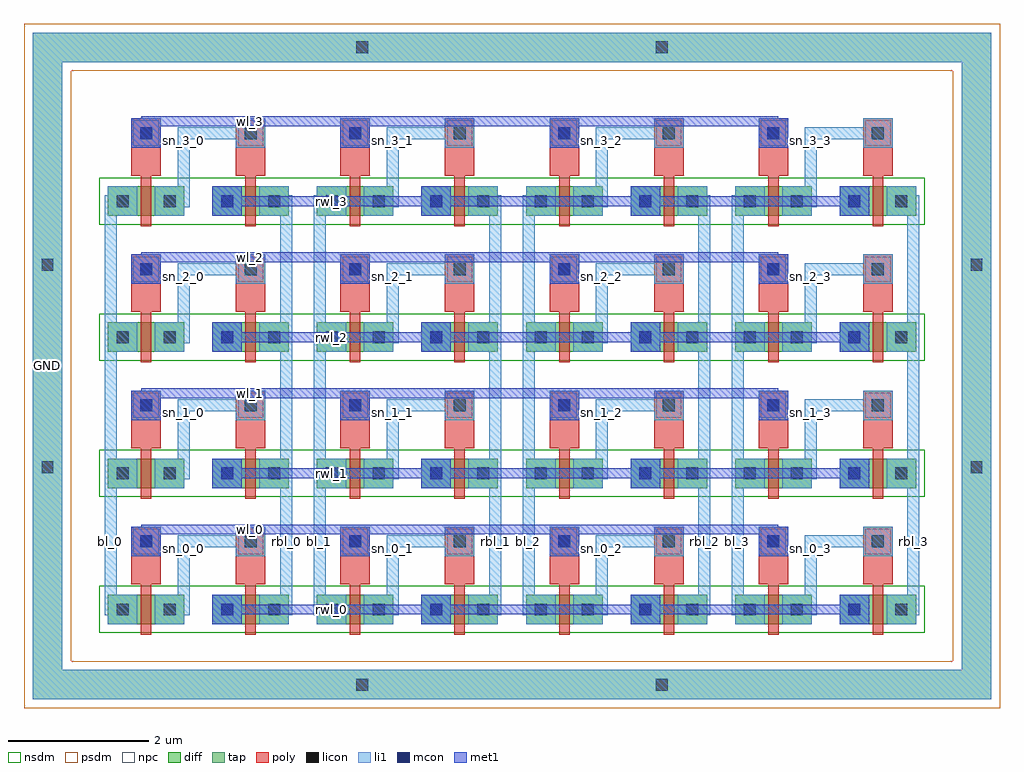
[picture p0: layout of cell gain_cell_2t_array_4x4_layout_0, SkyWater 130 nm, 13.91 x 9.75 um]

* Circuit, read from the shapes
.subckt gain_cell_2t_array_4x4_layout_0 GND bl_0 bl_1 bl_2 bl_3 rbl_0 rbl_1 rbl_2 rbl_3 rwl_0 rwl_1 rwl_2 rwl_3 sn_0_0 sn_0_1 sn_0_2 sn_0_3 sn_1_0 sn_1_1 sn_1_2 sn_1_3 sn_2_0 sn_2_1 sn_2_2 sn_2_3 sn_3_0 sn_3_1 sn_3_2 sn_3_3 wl_0 wl_1 wl_2 wl_3
XM1 sn_0_0 wl_0 bl_0 GND sky130_fd_pr__nfet_01v8 w=0.42 l=0.15
XM2 sn_1_0 wl_1 bl_0 GND sky130_fd_pr__nfet_01v8 w=0.42 l=0.15
XM3 sn_2_0 wl_2 bl_0 GND sky130_fd_pr__nfet_01v8 w=0.42 l=0.15
XM4 sn_3_0 wl_3 bl_0 GND sky130_fd_pr__nfet_01v8 w=0.42 l=0.15
XM5 rbl_0 sn_0_0 rwl_0 GND sky130_fd_pr__nfet_01v8 w=0.42 l=0.15
XM6 rbl_0 sn_1_0 rwl_1 GND sky130_fd_pr__nfet_01v8 w=0.42 l=0.15
XM7 rbl_0 sn_2_0 rwl_2 GND sky130_fd_pr__nfet_01v8 w=0.42 l=0.15
XM8 rbl_0 sn_3_0 rwl_3 GND sky130_fd_pr__nfet_01v8 w=0.42 l=0.15
XM9 sn_0_1 wl_0 bl_1 GND sky130_fd_pr__nfet_01v8 w=0.42 l=0.15
XM10 sn_1_1 wl_1 bl_1 GND sky130_fd_pr__nfet_01v8 w=0.42 l=0.15
XM11 sn_2_1 wl_2 bl_1 GND sky130_fd_pr__nfet_01v8 w=0.42 l=0.15
XM12 sn_3_1 wl_3 bl_1 GND sky130_fd_pr__nfet_01v8 w=0.42 l=0.15
XM13 rbl_1 sn_0_1 rwl_0 GND sky130_fd_pr__nfet_01v8 w=0.42 l=0.15
XM14 rbl_1 sn_1_1 rwl_1 GND sky130_fd_pr__nfet_01v8 w=0.42 l=0.15
XM15 rbl_1 sn_2_1 rwl_2 GND sky130_fd_pr__nfet_01v8 w=0.42 l=0.15
XM16 rbl_1 sn_3_1 rwl_3 GND sky130_fd_pr__nfet_01v8 w=0.42 l=0.15
XM17 sn_0_2 wl_0 bl_2 GND sky130_fd_pr__nfet_01v8 w=0.42 l=0.15
XM18 sn_1_2 wl_1 bl_2 GND sky130_fd_pr__nfet_01v8 w=0.42 l=0.15
XM19 sn_2_2 wl_2 bl_2 GND sky130_fd_pr__nfet_01v8 w=0.42 l=0.15
XM20 sn_3_2 wl_3 bl_2 GND sky130_fd_pr__nfet_01v8 w=0.42 l=0.15
XM21 rbl_2 sn_0_2 rwl_0 GND sky130_fd_pr__nfet_01v8 w=0.42 l=0.15
XM22 rbl_2 sn_1_2 rwl_1 GND sky130_fd_pr__nfet_01v8 w=0.42 l=0.15
XM23 rbl_2 sn_2_2 rwl_2 GND sky130_fd_pr__nfet_01v8 w=0.42 l=0.15
XM24 rbl_2 sn_3_2 rwl_3 GND sky130_fd_pr__nfet_01v8 w=0.42 l=0.15
XM25 sn_0_3 wl_0 bl_3 GND sky130_fd_pr__nfet_01v8 w=0.42 l=0.15
XM26 sn_1_3 wl_1 bl_3 GND sky130_fd_pr__nfet_01v8 w=0.42 l=0.15
XM27 sn_2_3 wl_2 bl_3 GND sky130_fd_pr__nfet_01v8 w=0.42 l=0.15
XM28 sn_3_3 wl_3 bl_3 GND sky130_fd_pr__nfet_01v8 w=0.42 l=0.15
XM29 rbl_3 sn_0_3 rwl_0 GND sky130_fd_pr__nfet_01v8 w=0.42 l=0.15
XM30 rbl_3 sn_1_3 rwl_1 GND sky130_fd_pr__nfet_01v8 w=0.42 l=0.15
XM31 rbl_3 sn_2_3 rwl_2 GND sky130_fd_pr__nfet_01v8 w=0.42 l=0.15
XM32 rbl_3 sn_3_3 rwl_3 GND sky130_fd_pr__nfet_01v8 w=0.42 l=0.15
.ends

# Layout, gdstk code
import gdstk
lib = gdstk.Library(unit=1e-6, precision=1e-09)
def R(c, l, rs):  # rectangles x0, y0, x1, y1
    for r in rs: c.add(gdstk.rectangle(r[:2], r[2:], *l))
def A(c, l, x, y, w, h, nx, ny, dx, dy):  # array of equal rectangles
    R(c, l, [(x+i*dx, y+j*dy, x+i*dx+w, y+j*dy+h) for i in range(nx) for j in range(ny)])
def P(c, l, *ps):  # polygons
    for p in ps: c.add(gdstk.Polygon(p, *l))
diff = (65, 20)
tap = (65, 44)
poly = (66, 20)
licon = (66, 44)
li1 = (67, 20)
mcon = (67, 44)
met1 = (68, 20)
nsdm = (93, 44)
psdm = (94, 20)
npc = (95, 20)

mos_array = lib.new_cell('mos_array')
A(mos_array, diff, 0, 0, 1.09, 0.42, 8, 4, 1.49, 1.94)
P(mos_array, tap, [(-1.07,-1.07),(-1.07,8.01),(-0.65,8.01),(-0.65,-0.65),(12.17,-0.65),(12.17,8.01),(-1.07,8.01),(-1.07,8.43),(12.59,8.43),(12.59,-1.07)])
A(mos_array, poly, 0.47, -0.15, 0.15, 0.57, 8, 4, 1.49, 1.94)
A(mos_array, poly, 0.335, 0.57, 0.42, 0.82, 8, 4, 1.49, 1.94)
R(mos_array, poly, [(0.47,0.42,0.62,0.57), (0.47,0.42,0.62,0.57), (1.96,0.42,2.11,0.57), (1.96,0.42,2.11,0.57), (3.45,0.42,3.6,0.57), (3.45,0.42,3.6,0.57), (4.94,0.42,5.09,0.57), (4.94,0.42,5.09,0.57), (6.43,0.42,6.58,0.57), (6.43,0.42,6.58,0.57), (7.92,0.42,8.07,0.57), (7.92,0.42,8.07,0.57), (9.41,0.42,9.56,0.57), (9.41,0.42,9.56,0.57), (10.9,0.42,11.05,0.57), (10.9,0.42,11.05,0.57), (0.47,2.36,0.62,2.51), (0.47,2.36,0.62,2.51), (1.96,2.36,2.11,2.51), (1.96,2.36,2.11,2.51), (3.45,2.36,3.6,2.51), (3.45,2.36,3.6,2.51), (4.94,2.36,5.09,2.51), (4.94,2.36,5.09,2.51), (6.43,2.36,6.58,2.51), (6.43,2.36,6.58,2.51), (7.92,2.36,8.07,2.51), (7.92,2.36,8.07,2.51), (9.41,2.36,9.56,2.51), (9.41,2.36,9.56,2.51), (10.9,2.36,11.05,2.51), (10.9,2.36,11.05,2.51), (0.47,4.3,0.62,4.45), (0.47,4.3,0.62,4.45), (1.96,4.3,2.11,4.45), (1.96,4.3,2.11,4.45), (3.45,4.3,3.6,4.45), (3.45,4.3,3.6,4.45), (4.94,4.3,5.09,4.45), (4.94,4.3,5.09,4.45), (6.43,4.3,6.58,4.45), (6.43,4.3,6.58,4.45), (7.92,4.3,8.07,4.45), (7.92,4.3,8.07,4.45), (9.41,4.3,9.56,4.45), (9.41,4.3,9.56,4.45), (10.9,4.3,11.05,4.45), (10.9,4.3,11.05,4.45), (0.47,6.24,0.62,6.39), (0.47,6.24,0.62,6.39), (1.96,6.24,2.11,6.39), (1.96,6.24,2.11,6.39), (3.45,6.24,3.6,6.39), (3.45,6.24,3.6,6.39), (4.94,6.24,5.09,6.39), (4.94,6.24,5.09,6.39), (6.43,6.24,6.58,6.39), (6.43,6.24,6.58,6.39), (7.92,6.24,8.07,6.39), (7.92,6.24,8.07,6.39), (9.41,6.24,9.56,6.39), (9.41,6.24,9.56,6.39), (10.9,6.24,11.05,6.39), (10.9,6.24,11.05,6.39)])
A(mos_array, licon, 0.125, 0.125, 0.17, 0.17, 1, 4, 0, 1.94)
A(mos_array, licon, 0.795, 0.125, 0.17, 0.17, 1, 4, 0, 1.94)
A(mos_array, licon, 1.615, 0.125, 0.17, 0.17, 1, 4, 0, 1.94)
A(mos_array, licon, 2.285, 0.125, 0.17, 0.17, 1, 4, 0, 1.94)
A(mos_array, licon, 3.105, 0.125, 0.17, 0.17, 1, 4, 0, 1.94)
A(mos_array, licon, 3.775, 0.125, 0.17, 0.17, 1, 4, 0, 1.94)
A(mos_array, licon, 4.595, 0.125, 0.17, 0.17, 1, 4, 0, 1.94)
A(mos_array, licon, 5.265, 0.125, 0.17, 0.17, 1, 4, 0, 1.94)
A(mos_array, licon, 6.085, 0.125, 0.17, 0.17, 1, 4, 0, 1.94)
A(mos_array, licon, 6.755, 0.125, 0.17, 0.17, 1, 4, 0, 1.94)
A(mos_array, licon, 7.575, 0.125, 0.17, 0.17, 1, 4, 0, 1.94)
A(mos_array, licon, 8.245, 0.125, 0.17, 0.17, 1, 4, 0, 1.94)
A(mos_array, licon, 9.065, 0.125, 0.17, 0.17, 1, 4, 0, 1.94)
A(mos_array, licon, 9.735, 0.125, 0.17, 0.17, 1, 4, 0, 1.94)
A(mos_array, licon, 10.555, 0.125, 0.17, 0.17, 1, 4, 0, 1.94)
A(mos_array, licon, 11.225, 0.125, 0.17, 0.17, 1, 4, 0, 1.94)
A(mos_array, licon, 0.46, 1.095, 0.17, 0.17, 8, 4, 1.49, 1.94)
R(mos_array, licon, [(3.54,-0.945,3.71,-0.775), (7.81,-0.945,7.98,-0.775), (-0.945,2.15,-0.775,2.32), (12.295,2.15,12.465,2.32), (-0.945,5.04,-0.775,5.21), (12.295,5.04,12.465,5.21), (3.54,8.135,3.71,8.305), (7.81,8.135,7.98,8.305)])
A(mos_array, li1, 0, 0, 0.42, 0.42, 1, 4, 0, 1.94)
A(mos_array, li1, 0.67, 0, 0.42, 0.42, 1, 4, 0, 1.94)
A(mos_array, li1, 1.49, 0, 0.42, 0.42, 1, 4, 0, 1.94)
A(mos_array, li1, 2.16, 0, 0.42, 0.42, 1, 4, 0, 1.94)
A(mos_array, li1, 2.98, 0, 0.42, 0.42, 1, 4, 0, 1.94)
A(mos_array, li1, 3.65, 0, 0.42, 0.42, 1, 4, 0, 1.94)
A(mos_array, li1, 4.47, 0, 0.42, 0.42, 1, 4, 0, 1.94)
A(mos_array, li1, 5.14, 0, 0.42, 0.42, 1, 4, 0, 1.94)
A(mos_array, li1, 5.96, 0, 0.42, 0.42, 1, 4, 0, 1.94)
A(mos_array, li1, 6.63, 0, 0.42, 0.42, 1, 4, 0, 1.94)
A(mos_array, li1, 7.45, 0, 0.42, 0.42, 1, 4, 0, 1.94)
A(mos_array, li1, 8.12, 0, 0.42, 0.42, 1, 4, 0, 1.94)
A(mos_array, li1, 8.94, 0, 0.42, 0.42, 1, 4, 0, 1.94)
A(mos_array, li1, 9.61, 0, 0.42, 0.42, 1, 4, 0, 1.94)
A(mos_array, li1, 10.43, 0, 0.42, 0.42, 1, 4, 0, 1.94)
A(mos_array, li1, 11.1, 0, 0.42, 0.42, 1, 4, 0, 1.94)
A(mos_array, li1, 0.335, 0.97, 0.42, 0.42, 8, 4, 1.49, 1.94)
P(mos_array, li1, [(-1.07,-1.07),(-1.07,8.01),(-0.65,8.01),(-0.65,-0.65),(12.17,-0.65),(12.17,8.01),(-1.07,8.01),(-1.07,8.43),(12.59,8.43),(12.59,-1.07)])
A(mos_array, nsdm, -0.125, -0.125, 11.77, 0.67, 1, 4, 0, 1.94)
P(mos_array, psdm, [(-1.195,-1.195),(-1.195,7.885),(-0.525,7.885),(-0.525,-0.525),(12.045,-0.525),(12.045,7.885),(-1.195,7.885),(-1.195,8.555),(12.715,8.555),(12.715,-1.195)])
A(mos_array, npc, 0.365, 1, 0.36, 0.36, 8, 4, 1.49, 1.94)

mos__gain_cell_2t_array_ = lib.new_cell('mos__gain_cell_2t_array_mos')
mos__gain_cell_2t_array_.add(gdstk.Reference(mos_array, (0,0)))

gain_cell_2t_array_4x4_l = lib.new_cell('gain_cell_2t_array_4x4_layout_0')
A(gain_cell_2t_array_4x4_l, li1, 1.49, 0, 0.42, 0.42, 1, 4, 0, 1.94)
A(gain_cell_2t_array_4x4_l, li1, 10.43, 0, 0.42, 0.42, 1, 4, 0, 1.94)
A(gain_cell_2t_array_4x4_l, li1, 0.335, 0.97, 0.42, 0.42, 1, 4, 0, 1.94)
A(gain_cell_2t_array_4x4_l, li1, 9.275, 0.97, 0.42, 0.42, 1, 4, 0, 1.94)
A(gain_cell_2t_array_4x4_l, li1, 1.825, 1.18, 0.42, 0.17, 4, 4, 2.98, 1.94)
R(gain_cell_2t_array_4x4_l, li1, [(4.47,0,4.89,0.42), (4.47,0,4.89,0.42), (7.45,0,7.87,0.42), (7.45,0,7.87,0.42), (3.315,0.97,3.735,1.39), (3.315,0.97,3.735,1.39), (6.295,0.97,6.715,1.39), (6.295,0.97,6.715,1.39), (4.47,1.94,4.89,2.36), (4.47,1.94,4.89,2.36), (7.45,1.94,7.87,2.36), (7.45,1.94,7.87,2.36), (3.315,2.91,3.735,3.33), (3.315,2.91,3.735,3.33), (6.295,2.91,6.715,3.33), (6.295,2.91,6.715,3.33), (4.47,3.88,4.89,4.3), (4.47,3.88,4.89,4.3), (7.45,3.88,7.87,4.3), (7.45,3.88,7.87,4.3), (3.315,4.85,3.735,5.27), (3.315,4.85,3.735,5.27), (6.295,4.85,6.715,5.27), (6.295,4.85,6.715,5.27), (4.47,5.82,4.89,6.24), (4.47,5.82,4.89,6.24), (7.45,5.82,7.87,6.24), (7.45,5.82,7.87,6.24), (3.315,6.79,3.735,7.21), (3.315,6.79,3.735,7.21), (6.295,6.79,6.715,7.21), (6.295,6.79,6.715,7.21)])
A(gain_cell_2t_array_4x4_l, mcon, 1.615, 0.125, 0.17, 0.17, 1, 4, 0, 1.94)
A(gain_cell_2t_array_4x4_l, mcon, 10.555, 0.125, 0.17, 0.17, 1, 4, 0, 1.94)
A(gain_cell_2t_array_4x4_l, mcon, 0.46, 1.095, 0.17, 0.17, 1, 4, 0, 1.94)
A(gain_cell_2t_array_4x4_l, mcon, 9.4, 1.095, 0.17, 0.17, 1, 4, 0, 1.94)
R(gain_cell_2t_array_4x4_l, mcon, [(4.595,0.125,4.765,0.295), (4.595,0.125,4.765,0.295), (7.575,0.125,7.745,0.295), (7.575,0.125,7.745,0.295), (3.44,1.095,3.61,1.265), (3.44,1.095,3.61,1.265), (6.42,1.095,6.59,1.265), (6.42,1.095,6.59,1.265), (4.595,2.065,4.765,2.235), (4.595,2.065,4.765,2.235), (7.575,2.065,7.745,2.235), (7.575,2.065,7.745,2.235), (3.44,3.035,3.61,3.205), (3.44,3.035,3.61,3.205), (6.42,3.035,6.59,3.205), (6.42,3.035,6.59,3.205), (4.595,4.005,4.765,4.175), (4.595,4.005,4.765,4.175), (7.575,4.005,7.745,4.175), (7.575,4.005,7.745,4.175), (3.44,4.975,3.61,5.145), (3.44,4.975,3.61,5.145), (6.42,4.975,6.59,5.145), (6.42,4.975,6.59,5.145), (4.595,5.945,4.765,6.115), (4.595,5.945,4.765,6.115), (7.575,5.945,7.745,6.115), (7.575,5.945,7.745,6.115), (3.44,6.915,3.61,7.085), (3.44,6.915,3.61,7.085), (6.42,6.915,6.59,7.085), (6.42,6.915,6.59,7.085)])
A(gain_cell_2t_array_4x4_l, met1, 1.49, 0, 0.42, 0.42, 1, 4, 0, 1.94)
A(gain_cell_2t_array_4x4_l, met1, 10.43, 0, 0.42, 0.42, 1, 4, 0, 1.94)
A(gain_cell_2t_array_4x4_l, met1, 0.335, 0.97, 0.42, 0.42, 1, 4, 0, 1.94)
A(gain_cell_2t_array_4x4_l, met1, 9.275, 0.97, 0.42, 0.42, 1, 4, 0, 1.94)
R(gain_cell_2t_array_4x4_l, met1, [(4.47,0,4.89,0.42), (4.47,0,4.89,0.42), (7.45,0,7.87,0.42), (7.45,0,7.87,0.42), (3.315,0.97,3.735,1.39), (3.315,0.97,3.735,1.39), (6.295,0.97,6.715,1.39), (6.295,0.97,6.715,1.39), (4.47,1.94,4.89,2.36), (4.47,1.94,4.89,2.36), (7.45,1.94,7.87,2.36), (7.45,1.94,7.87,2.36), (3.315,2.91,3.735,3.33), (3.315,2.91,3.735,3.33), (6.295,2.91,6.715,3.33), (6.295,2.91,6.715,3.33), (4.47,3.88,4.89,4.3), (4.47,3.88,4.89,4.3), (7.45,3.88,7.87,4.3), (7.45,3.88,7.87,4.3), (3.315,4.85,3.735,5.27), (3.315,4.85,3.735,5.27), (6.295,4.85,6.715,5.27), (6.295,4.85,6.715,5.27), (4.47,5.82,4.89,6.24), (4.47,5.82,4.89,6.24), (7.45,5.82,7.87,6.24), (7.45,5.82,7.87,6.24), (3.315,6.79,3.735,7.21), (3.315,6.79,3.735,7.21), (6.295,6.79,6.715,7.21), (6.295,6.79,6.715,7.21)])
gain_cell_2t_array_4x4_l.add(gdstk.FlexPath([(0.21,0.21),(0.04,0.21),(0.04,2.15),(0.21,2.15)], 0.17, ends="flush", simple_path=True, layer=67, datatype=20))  # li1
gain_cell_2t_array_4x4_l.add(gdstk.FlexPath([(0.21,2.15),(0.04,2.15),(0.04,4.09),(0.21,4.09)], 0.17, ends="flush", simple_path=True, layer=67, datatype=20))  # li1
gain_cell_2t_array_4x4_l.add(gdstk.FlexPath([(0.21,4.09),(0.04,4.09),(0.04,6.03),(0.21,6.03)], 0.17, ends="flush", simple_path=True, layer=67, datatype=20))  # li1
gain_cell_2t_array_4x4_l.add(gdstk.FlexPath([(3.19,0.21),(3.02,0.21),(3.02,2.15),(3.19,2.15)], 0.17, ends="flush", simple_path=True, layer=67, datatype=20))  # li1
gain_cell_2t_array_4x4_l.add(gdstk.FlexPath([(3.19,2.15),(3.02,2.15),(3.02,4.09),(3.19,4.09)], 0.17, ends="flush", simple_path=True, layer=67, datatype=20))  # li1
gain_cell_2t_array_4x4_l.add(gdstk.FlexPath([(3.19,4.09),(3.02,4.09),(3.02,6.03),(3.19,6.03)], 0.17, ends="flush", simple_path=True, layer=67, datatype=20))  # li1
gain_cell_2t_array_4x4_l.add(gdstk.FlexPath([(6.17,0.21),(6,0.21),(6,2.15),(6.17,2.15)], 0.17, ends="flush", simple_path=True, layer=67, datatype=20))  # li1
gain_cell_2t_array_4x4_l.add(gdstk.FlexPath([(6.17,2.15),(6,2.15),(6,4.09),(6.17,4.09)], 0.17, ends="flush", simple_path=True, layer=67, datatype=20))  # li1
gain_cell_2t_array_4x4_l.add(gdstk.FlexPath([(6.17,4.09),(6,4.09),(6,6.03),(6.17,6.03)], 0.17, ends="flush", simple_path=True, layer=67, datatype=20))  # li1
gain_cell_2t_array_4x4_l.add(gdstk.FlexPath([(9.15,0.21),(8.98,0.21),(8.98,2.15),(9.15,2.15)], 0.17, ends="flush", simple_path=True, layer=67, datatype=20))  # li1
gain_cell_2t_array_4x4_l.add(gdstk.FlexPath([(9.15,2.15),(8.98,2.15),(8.98,4.09),(9.15,4.09)], 0.17, ends="flush", simple_path=True, layer=67, datatype=20))  # li1
gain_cell_2t_array_4x4_l.add(gdstk.FlexPath([(9.15,4.09),(8.98,4.09),(8.98,6.03),(9.15,6.03)], 0.17, ends="flush", simple_path=True, layer=67, datatype=20))  # li1
gain_cell_2t_array_4x4_l.add(gdstk.FlexPath([(2.37,0.21),(2.54,0.21),(2.54,2.15),(2.37,2.15)], 0.17, ends="flush", simple_path=True, layer=67, datatype=20))  # li1
gain_cell_2t_array_4x4_l.add(gdstk.FlexPath([(2.37,2.15),(2.54,2.15),(2.54,4.09),(2.37,4.09)], 0.17, ends="flush", simple_path=True, layer=67, datatype=20))  # li1
gain_cell_2t_array_4x4_l.add(gdstk.FlexPath([(2.37,4.09),(2.54,4.09),(2.54,6.03),(2.37,6.03)], 0.17, ends="flush", simple_path=True, layer=67, datatype=20))  # li1
gain_cell_2t_array_4x4_l.add(gdstk.FlexPath([(5.35,0.21),(5.52,0.21),(5.52,2.15),(5.35,2.15)], 0.17, ends="flush", simple_path=True, layer=67, datatype=20))  # li1
gain_cell_2t_array_4x4_l.add(gdstk.FlexPath([(5.35,2.15),(5.52,2.15),(5.52,4.09),(5.35,4.09)], 0.17, ends="flush", simple_path=True, layer=67, datatype=20))  # li1
gain_cell_2t_array_4x4_l.add(gdstk.FlexPath([(5.35,4.09),(5.52,4.09),(5.52,6.03),(5.35,6.03)], 0.17, ends="flush", simple_path=True, layer=67, datatype=20))  # li1
gain_cell_2t_array_4x4_l.add(gdstk.FlexPath([(8.33,0.21),(8.5,0.21),(8.5,2.15),(8.33,2.15)], 0.17, ends="flush", simple_path=True, layer=67, datatype=20))  # li1
gain_cell_2t_array_4x4_l.add(gdstk.FlexPath([(8.33,2.15),(8.5,2.15),(8.5,4.09),(8.33,4.09)], 0.17, ends="flush", simple_path=True, layer=67, datatype=20))  # li1
gain_cell_2t_array_4x4_l.add(gdstk.FlexPath([(8.33,4.09),(8.5,4.09),(8.5,6.03),(8.33,6.03)], 0.17, ends="flush", simple_path=True, layer=67, datatype=20))  # li1
gain_cell_2t_array_4x4_l.add(gdstk.FlexPath([(11.31,0.21),(11.48,0.21),(11.48,2.15),(11.31,2.15)], 0.17, ends="flush", simple_path=True, layer=67, datatype=20))  # li1
gain_cell_2t_array_4x4_l.add(gdstk.FlexPath([(11.31,2.15),(11.48,2.15),(11.48,4.09),(11.31,4.09)], 0.17, ends="flush", simple_path=True, layer=67, datatype=20))  # li1
gain_cell_2t_array_4x4_l.add(gdstk.FlexPath([(11.31,4.09),(11.48,4.09),(11.48,6.03),(11.31,6.03)], 0.17, ends="flush", simple_path=True, layer=67, datatype=20))  # li1
gain_cell_2t_array_4x4_l.add(gdstk.FlexPath([(0.88,0.21),(1.08,0.21),(1.08,1.18),(2.035,1.18),(2.035,1.18)], 0.17, ends="flush", simple_path=True, layer=67, datatype=20))  # li1
gain_cell_2t_array_4x4_l.add(gdstk.FlexPath([(3.86,0.21),(4.06,0.21),(4.06,1.18),(5.015,1.18),(5.015,1.18)], 0.17, ends="flush", simple_path=True, layer=67, datatype=20))  # li1
gain_cell_2t_array_4x4_l.add(gdstk.FlexPath([(6.84,0.21),(7.04,0.21),(7.04,1.18),(7.995,1.18),(7.995,1.18)], 0.17, ends="flush", simple_path=True, layer=67, datatype=20))  # li1
gain_cell_2t_array_4x4_l.add(gdstk.FlexPath([(9.82,0.21),(10.02,0.21),(10.02,1.18),(10.975,1.18),(10.975,1.18)], 0.17, ends="flush", simple_path=True, layer=67, datatype=20))  # li1
gain_cell_2t_array_4x4_l.add(gdstk.FlexPath([(0.88,2.15),(1.08,2.15),(1.08,3.12),(2.035,3.12),(2.035,3.12)], 0.17, ends="flush", simple_path=True, layer=67, datatype=20))  # li1
gain_cell_2t_array_4x4_l.add(gdstk.FlexPath([(3.86,2.15),(4.06,2.15),(4.06,3.12),(5.015,3.12),(5.015,3.12)], 0.17, ends="flush", simple_path=True, layer=67, datatype=20))  # li1
gain_cell_2t_array_4x4_l.add(gdstk.FlexPath([(6.84,2.15),(7.04,2.15),(7.04,3.12),(7.995,3.12),(7.995,3.12)], 0.17, ends="flush", simple_path=True, layer=67, datatype=20))  # li1
gain_cell_2t_array_4x4_l.add(gdstk.FlexPath([(9.82,2.15),(10.02,2.15),(10.02,3.12),(10.975,3.12),(10.975,3.12)], 0.17, ends="flush", simple_path=True, layer=67, datatype=20))  # li1
gain_cell_2t_array_4x4_l.add(gdstk.FlexPath([(0.88,4.09),(1.08,4.09),(1.08,5.06),(2.035,5.06),(2.035,5.06)], 0.17, ends="flush", simple_path=True, layer=67, datatype=20))  # li1
gain_cell_2t_array_4x4_l.add(gdstk.FlexPath([(3.86,4.09),(4.06,4.09),(4.06,5.06),(5.015,5.06),(5.015,5.06)], 0.17, ends="flush", simple_path=True, layer=67, datatype=20))  # li1
gain_cell_2t_array_4x4_l.add(gdstk.FlexPath([(6.84,4.09),(7.04,4.09),(7.04,5.06),(7.995,5.06),(7.995,5.06)], 0.17, ends="flush", simple_path=True, layer=67, datatype=20))  # li1
gain_cell_2t_array_4x4_l.add(gdstk.FlexPath([(9.82,4.09),(10.02,4.09),(10.02,5.06),(10.975,5.06),(10.975,5.06)], 0.17, ends="flush", simple_path=True, layer=67, datatype=20))  # li1
gain_cell_2t_array_4x4_l.add(gdstk.FlexPath([(0.88,6.03),(1.08,6.03),(1.08,7),(2.035,7),(2.035,7)], 0.17, ends="flush", simple_path=True, layer=67, datatype=20))  # li1
gain_cell_2t_array_4x4_l.add(gdstk.FlexPath([(3.86,6.03),(4.06,6.03),(4.06,7),(5.015,7),(5.015,7)], 0.17, ends="flush", simple_path=True, layer=67, datatype=20))  # li1
gain_cell_2t_array_4x4_l.add(gdstk.FlexPath([(6.84,6.03),(7.04,6.03),(7.04,7),(7.995,7),(7.995,7)], 0.17, ends="flush", simple_path=True, layer=67, datatype=20))  # li1
gain_cell_2t_array_4x4_l.add(gdstk.FlexPath([(9.82,6.03),(10.02,6.03),(10.02,7),(10.975,7),(10.975,7)], 0.17, ends="flush", simple_path=True, layer=67, datatype=20))  # li1
gain_cell_2t_array_4x4_l.add(gdstk.FlexPath([(0.545,1.18),(0.545,1.35),(3.525,1.35),(3.525,1.18)], 0.14, ends="flush", simple_path=True, layer=68, datatype=20))  # met1
gain_cell_2t_array_4x4_l.add(gdstk.FlexPath([(3.525,1.18),(3.525,1.35),(6.505,1.35),(6.505,1.18)], 0.14, ends="flush", simple_path=True, layer=68, datatype=20))  # met1
gain_cell_2t_array_4x4_l.add(gdstk.FlexPath([(6.505,1.18),(6.505,1.35),(9.485,1.35),(9.485,1.18)], 0.14, ends="flush", simple_path=True, layer=68, datatype=20))  # met1
gain_cell_2t_array_4x4_l.add(gdstk.FlexPath([(0.545,3.12),(0.545,3.29),(3.525,3.29),(3.525,3.12)], 0.14, ends="flush", simple_path=True, layer=68, datatype=20))  # met1
gain_cell_2t_array_4x4_l.add(gdstk.FlexPath([(3.525,3.12),(3.525,3.29),(6.505,3.29),(6.505,3.12)], 0.14, ends="flush", simple_path=True, layer=68, datatype=20))  # met1
gain_cell_2t_array_4x4_l.add(gdstk.FlexPath([(6.505,3.12),(6.505,3.29),(9.485,3.29),(9.485,3.12)], 0.14, ends="flush", simple_path=True, layer=68, datatype=20))  # met1
gain_cell_2t_array_4x4_l.add(gdstk.FlexPath([(0.545,5.06),(0.545,5.23),(3.525,5.23),(3.525,5.06)], 0.14, ends="flush", simple_path=True, layer=68, datatype=20))  # met1
gain_cell_2t_array_4x4_l.add(gdstk.FlexPath([(3.525,5.06),(3.525,5.23),(6.505,5.23),(6.505,5.06)], 0.14, ends="flush", simple_path=True, layer=68, datatype=20))  # met1
gain_cell_2t_array_4x4_l.add(gdstk.FlexPath([(6.505,5.06),(6.505,5.23),(9.485,5.23),(9.485,5.06)], 0.14, ends="flush", simple_path=True, layer=68, datatype=20))  # met1
gain_cell_2t_array_4x4_l.add(gdstk.FlexPath([(0.545,7),(0.545,7.17),(3.525,7.17),(3.525,7)], 0.14, ends="flush", simple_path=True, layer=68, datatype=20))  # met1
gain_cell_2t_array_4x4_l.add(gdstk.FlexPath([(3.525,7),(3.525,7.17),(6.505,7.17),(6.505,7)], 0.14, ends="flush", simple_path=True, layer=68, datatype=20))  # met1
gain_cell_2t_array_4x4_l.add(gdstk.FlexPath([(6.505,7),(6.505,7.17),(9.485,7.17),(9.485,7)], 0.14, ends="flush", simple_path=True, layer=68, datatype=20))  # met1
gain_cell_2t_array_4x4_l.add(gdstk.FlexPath([(1.7,0.21),(4.68,0.21)], 0.14, ends="flush", simple_path=True, layer=68, datatype=20))  # met1
gain_cell_2t_array_4x4_l.add(gdstk.FlexPath([(4.68,0.21),(7.66,0.21)], 0.14, ends="flush", simple_path=True, layer=68, datatype=20))  # met1
gain_cell_2t_array_4x4_l.add(gdstk.FlexPath([(7.66,0.21),(10.64,0.21)], 0.14, ends="flush", simple_path=True, layer=68, datatype=20))  # met1
gain_cell_2t_array_4x4_l.add(gdstk.FlexPath([(1.7,2.15),(4.68,2.15)], 0.14, ends="flush", simple_path=True, layer=68, datatype=20))  # met1
gain_cell_2t_array_4x4_l.add(gdstk.FlexPath([(4.68,2.15),(7.66,2.15)], 0.14, ends="flush", simple_path=True, layer=68, datatype=20))  # met1
gain_cell_2t_array_4x4_l.add(gdstk.FlexPath([(7.66,2.15),(10.64,2.15)], 0.14, ends="flush", simple_path=True, layer=68, datatype=20))  # met1
gain_cell_2t_array_4x4_l.add(gdstk.FlexPath([(1.7,4.09),(4.68,4.09)], 0.14, ends="flush", simple_path=True, layer=68, datatype=20))  # met1
gain_cell_2t_array_4x4_l.add(gdstk.FlexPath([(4.68,4.09),(7.66,4.09)], 0.14, ends="flush", simple_path=True, layer=68, datatype=20))  # met1
gain_cell_2t_array_4x4_l.add(gdstk.FlexPath([(7.66,4.09),(10.64,4.09)], 0.14, ends="flush", simple_path=True, layer=68, datatype=20))  # met1
gain_cell_2t_array_4x4_l.add(gdstk.FlexPath([(1.7,6.03),(4.68,6.03)], 0.14, ends="flush", simple_path=True, layer=68, datatype=20))  # met1
gain_cell_2t_array_4x4_l.add(gdstk.FlexPath([(4.68,6.03),(7.66,6.03)], 0.14, ends="flush", simple_path=True, layer=68, datatype=20))  # met1
gain_cell_2t_array_4x4_l.add(gdstk.FlexPath([(7.66,6.03),(10.64,6.03)], 0.14, ends="flush", simple_path=True, layer=68, datatype=20))  # met1
gain_cell_2t_array_4x4_l.add(gdstk.Reference(mos__gain_cell_2t_array_, (0,0)))
gain_cell_2t_array_4x4_l.add(gdstk.Label('wl_0', (2.035,1.35), layer=68, texttype=5))
gain_cell_2t_array_4x4_l.add(gdstk.Label('wl_1', (2.035,3.29), layer=68, texttype=5))
gain_cell_2t_array_4x4_l.add(gdstk.Label('wl_2', (2.035,5.23), layer=68, texttype=5))
gain_cell_2t_array_4x4_l.add(gdstk.Label('wl_3', (2.035,7.17), layer=68, texttype=5))
gain_cell_2t_array_4x4_l.add(gdstk.Label('rwl_0', (3.19,0.21), layer=68, texttype=5))
gain_cell_2t_array_4x4_l.add(gdstk.Label('rwl_1', (3.19,2.15), layer=68, texttype=5))
gain_cell_2t_array_4x4_l.add(gdstk.Label('rwl_2', (3.19,4.09), layer=68, texttype=5))
gain_cell_2t_array_4x4_l.add(gdstk.Label('rwl_3', (3.19,6.03), layer=68, texttype=5))
gain_cell_2t_array_4x4_l.add(gdstk.Label('bl_0', (0.04,1.18), layer=67, texttype=5))
gain_cell_2t_array_4x4_l.add(gdstk.Label('bl_1', (3.02,1.18), layer=67, texttype=5))
gain_cell_2t_array_4x4_l.add(gdstk.Label('bl_2', (6,1.18), layer=67, texttype=5))
gain_cell_2t_array_4x4_l.add(gdstk.Label('bl_3', (8.98,1.18), layer=67, texttype=5))
gain_cell_2t_array_4x4_l.add(gdstk.Label('rbl_0', (2.54,1.18), layer=67, texttype=5))
gain_cell_2t_array_4x4_l.add(gdstk.Label('rbl_1', (5.52,1.18), layer=67, texttype=5))
gain_cell_2t_array_4x4_l.add(gdstk.Label('rbl_2', (8.5,1.18), layer=67, texttype=5))
gain_cell_2t_array_4x4_l.add(gdstk.Label('rbl_3', (11.48,1.18), layer=67, texttype=5))
gain_cell_2t_array_4x4_l.add(gdstk.Label('sn_0_0', (1.08,1.072), layer=67, texttype=5))
gain_cell_2t_array_4x4_l.add(gdstk.Label('sn_0_1', (4.06,1.072), layer=67, texttype=5))
gain_cell_2t_array_4x4_l.add(gdstk.Label('sn_0_2', (7.04,1.072), layer=67, texttype=5))
gain_cell_2t_array_4x4_l.add(gdstk.Label('sn_0_3', (10.02,1.073), layer=67, texttype=5))
gain_cell_2t_array_4x4_l.add(gdstk.Label('sn_1_0', (1.08,3.012), layer=67, texttype=5))
gain_cell_2t_array_4x4_l.add(gdstk.Label('sn_1_1', (4.06,3.012), layer=67, texttype=5))
gain_cell_2t_array_4x4_l.add(gdstk.Label('sn_1_2', (7.04,3.012), layer=67, texttype=5))
gain_cell_2t_array_4x4_l.add(gdstk.Label('sn_1_3', (10.02,3.012), layer=67, texttype=5))
gain_cell_2t_array_4x4_l.add(gdstk.Label('sn_2_0', (1.08,4.952), layer=67, texttype=5))
gain_cell_2t_array_4x4_l.add(gdstk.Label('sn_2_1', (4.06,4.952), layer=67, texttype=5))
gain_cell_2t_array_4x4_l.add(gdstk.Label('sn_2_2', (7.04,4.952), layer=67, texttype=5))
gain_cell_2t_array_4x4_l.add(gdstk.Label('sn_2_3', (10.02,4.953), layer=67, texttype=5))
gain_cell_2t_array_4x4_l.add(gdstk.Label('sn_3_0', (1.08,6.892), layer=67, texttype=5))
gain_cell_2t_array_4x4_l.add(gdstk.Label('sn_3_1', (4.06,6.892), layer=67, texttype=5))
gain_cell_2t_array_4x4_l.add(gdstk.Label('sn_3_2', (7.04,6.892), layer=67, texttype=5))
gain_cell_2t_array_4x4_l.add(gdstk.Label('sn_3_3', (10.02,6.892), layer=67, texttype=5))
gain_cell_2t_array_4x4_l.add(gdstk.Label('GND', (-0.86,3.68), layer=67, texttype=5))

lib.write_gds('gain_cell_2t_array_4x4_layout_0.gds')
